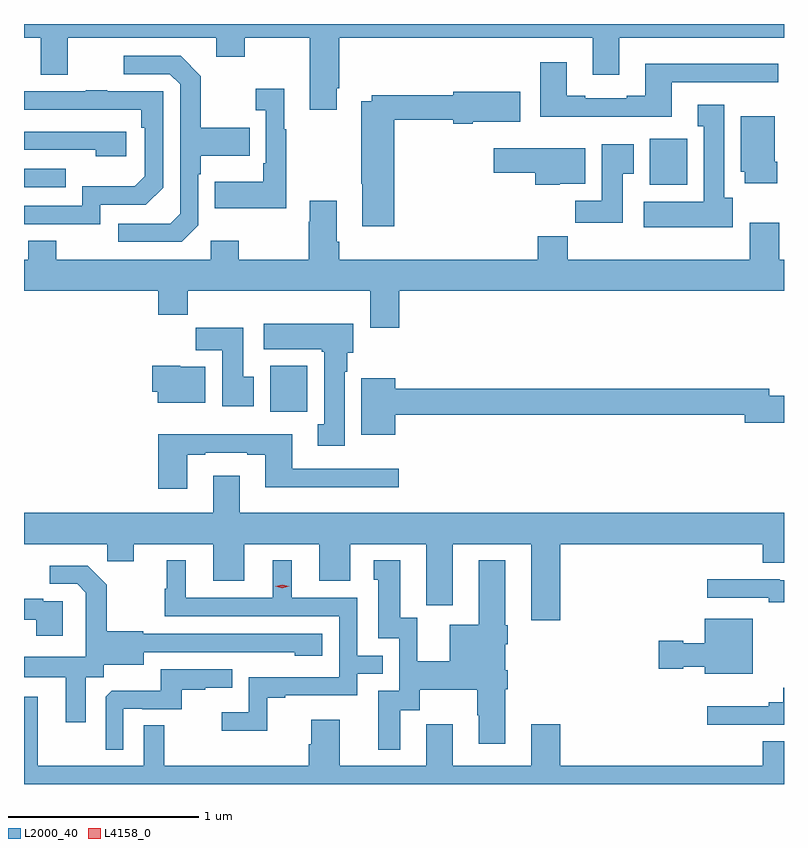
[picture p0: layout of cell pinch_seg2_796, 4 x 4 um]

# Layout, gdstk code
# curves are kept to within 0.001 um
import gdstk
lib = gdstk.Library(unit=1e-6, precision=1e-09)
def R(c, l, rs):  # rectangles x0, y0, x1, y1
    for r in rs: c.add(gdstk.rectangle(r[:2], r[2:], *l))
def P(c, l, *ps):  # polygons
    for p in ps: c.add(gdstk.Polygon(p, *l))
L2000_40 = (2000, 40)
L4158_0 = (4158, 0)

pinch_seg2_796 = lib.new_cell('pinch_seg2_796')
R(pinch_seg2_796, L2000_40, [(671.225,616.364,671.422,616.606), (669.93,617.547,670.151,617.643), (673.223,617.558,673.42,617.8)])
P(pinch_seg2_796, L2000_40, [(671.575,618.067),(671.588,618.067),(671.588,618.332),(672.923,618.332),(672.923,618.138),(673.063,618.138),(673.063,618.332),(673.93,618.332),(673.93,618.405),(669.93,618.405),(669.93,618.332),(670.019,618.332),(670.019,618.138),(670.159,618.138),(670.159,618.332),(670.943,618.332),(670.943,618.233),(671.091,618.233),(671.091,618.332),(671.435,618.332),(671.435,617.955),(671.575,617.955)],
  [(670.848,617.346),(670.848,617.615),(670.861,617.615),(670.861,617.711),(671.117,617.711),(671.117,617.859),(670.861,617.859),(670.861,618.131),(670.755,618.237),(670.455,618.237),(670.455,618.141),(670.698,618.141),(670.752,618.087),(670.752,617.406),(670.701,617.355),(670.425,617.355),(670.425,617.259),(670.761,617.259)],
  [(673.339,618.099),(673.9,618.099),(673.9,618.196),(673.199,618.196),(673.199,618.028),(673.103,618.028),(673.103,618.015),(672.883,618.015),(672.883,618.028),(672.787,618.028),(672.787,618.205),(672.647,618.205),(672.647,617.918),(673.339,617.918)],
  [(671.311,617.851),(671.299,617.851),(671.299,618.064),(671.151,618.064),(671.151,617.951),(671.202,617.951),(671.202,617.671),(671.19,617.671),(671.19,617.575),(670.933,617.575),(670.933,617.435),(671.311,617.435)],
  [(670.332,617.454),(670.572,617.454),(670.662,617.544),(670.662,618.051),(670.367,618.051),(670.367,618.056),(670.255,618.056),(670.255,618.051),(669.93,618.051),(669.93,617.955),(670.546,617.955),(670.546,617.858),(670.566,617.858),(670.566,617.604),(670.513,617.551),(670.236,617.551),(670.236,617.448),(669.93,617.448),(669.93,617.352),(670.332,617.352)],
  [(671.879,617.902),(672.188,617.902),(672.188,617.879),(672.292,617.879),(672.292,617.891),(672.541,617.891),(672.541,618.049),(672.188,618.049),(672.188,618.031),(671.76,618.031),(671.76,617.998),(671.704,617.998),(671.704,617.563),(671.711,617.563),(671.711,617.34),(671.879,617.34)],
  [(673.66,617.49),(673.615,617.49),(673.615,617.98),(673.475,617.98),(673.475,617.867),(673.508,617.867),(673.508,617.47),(673.191,617.47),(673.191,617.336),(673.66,617.336)],
  [(673.895,617.68),(673.882,617.68),(673.882,617.92),(673.703,617.92),(673.703,617.628),(673.724,617.628),(673.724,617.568),(673.895,617.568)],
  [(670.468,617.838),(669.93,617.838),(669.93,617.742),(670.307,617.742),(670.307,617.708),(670.468,617.708)],
  [(673.081,617.617),(673.138,617.617),(673.138,617.773),(672.971,617.773),(672.971,617.476),(672.832,617.476),(672.832,617.358),(673.081,617.358)],
  [(672.75,617.564),(672.883,617.564),(672.883,617.752),(672.402,617.752),(672.402,617.623),(672.62,617.623),(672.62,617.558),(672.75,617.558)],
  [(671.906,617),(673.93,617),(673.93,617.164),(673.904,617.164),(673.904,617.359),(673.751,617.359),(673.751,617.164),(672.791,617.164),(672.791,617.288),(672.635,617.288),(672.635,617.164),(671.588,617.164),(671.588,617.26),(671.575,617.26),(671.575,617.476),(671.435,617.476),(671.435,617.363),(671.428,617.363),(671.428,617.164),(671.061,617.164),(671.061,617.263),(670.914,617.263),(670.914,617.164),(670.101,617.164),(670.101,617.263),(669.953,617.263),(669.953,617.164),(669.93,617.164),(669.93,617),(670.637,617),(670.637,616.876),(670.793,616.876),(670.793,617),(671.753,617),(671.753,616.806),(671.906,616.806)],
  [(671.617,616.574),(671.632,616.574),(671.632,616.674),(671.662,616.674),(671.662,616.828),(671.193,616.828),(671.193,616.694),(671.497,616.694),(671.497,616.681),(671.51,616.681),(671.51,616.298),(671.477,616.298),(671.477,616.185),(671.617,616.185)],
  [(671.14,616.548),(671.083,616.548),(671.083,616.807),(670.834,616.807),(670.834,616.688),(670.973,616.688),(670.973,616.392),(671.14,616.392)],
  [(670.885,616.6),(670.752,616.6),(670.752,616.606),(670.604,616.606),(670.604,616.47),(670.634,616.47),(670.634,616.412),(670.885,616.412)],
  [(671.884,616.348),(673.724,616.348),(673.724,616.306),(673.93,616.306),(673.93,616.448),(673.852,616.448),(673.852,616.484),(671.884,616.484),(671.884,616.54),(671.705,616.54),(671.705,616.244),(671.884,616.244)],
  [(670.789,616.137),(670.885,616.137),(670.885,616.149),(671.105,616.149),(671.105,616.137),(671.201,616.137),(671.201,615.968),(671.902,615.968),(671.902,616.065),(671.341,616.065),(671.341,616.246),(670.637,616.246),(670.637,615.96),(670.789,615.96)],
  [(672.752,615.668),(673.817,615.668),(673.817,615.57),(673.93,615.57),(673.93,615.832),(671.065,615.832),(671.065,616.027),(670.925,616.027),(670.925,615.832),(669.93,615.832),(669.93,615.668),(670.369,615.668),(670.369,615.578),(670.507,615.578),(670.507,615.668),(670.925,615.668),(670.925,615.474),(671.089,615.474),(671.089,615.668),(671.483,615.668),(671.483,615.474),(671.647,615.474),(671.647,615.668),(672.047,615.668),(672.047,615.457),(672.048,615.457),(672.048,615.345),(672.187,615.345),(672.187,615.668),(672.599,615.668),(672.599,615.267),(672.752,615.267)],
  [(671.911,614.794),(672.013,614.794),(672.013,614.9),(672.316,614.9),(672.316,614.766),(672.323,614.766),(672.323,614.616),(672.463,614.616),(672.463,614.904),(672.476,614.904),(672.476,615.004),(672.463,615.004),(672.463,615.14),(672.476,615.14),(672.476,615.24),(672.463,615.24),(672.463,615.583),(672.323,615.583),(672.323,615.244),(672.17,615.244),(672.17,615.052),(672,615.052),(672,615.279),(671.911,615.279),(671.911,615.583),(671.771,615.583),(671.771,615.48),(671.795,615.48),(671.795,615.171),(671.904,615.171),(671.904,614.895),(671.795,614.895),(671.795,614.586),(671.911,614.586)],
  [(671.211,614.859),(671.305,614.859),(671.305,614.871),(671.685,614.871),(671.685,614.985),(671.819,614.985),(671.819,615.081),(671.685,615.081),(671.685,615.384),(671.338,615.384),(671.338,615.583),(671.24,615.583),(671.24,615.384),(670.78,615.384),(670.78,615.583),(670.682,615.583),(670.682,615.432),(670.671,615.432),(670.671,615.288),(671.589,615.288),(671.589,614.967),(671.112,614.967),(671.112,614.782),(670.971,614.782),(670.971,614.684),(671.211,614.684)],
  [(670.255,614.968),(670.35,614.968),(670.35,615.032),(670.561,615.032),(670.561,615.099),(671.355,615.098),(671.355,615.08),(671.5,615.08),(671.5,615.195),(670.557,615.195),(670.557,615.208),(670.365,615.208),(670.365,615.453),(670.265,615.553),(670.065,615.553),(670.065,615.459),(670.209,615.459),(670.256,615.412),(670.256,615.317),(670.254,615.317),(670.254,615.076),(669.93,615.076),(669.93,614.966),(670.151,614.966),(670.151,614.73),(670.255,614.73)],
  [(673.93,615.477),(673.907,615.477),(673.907,615.482),(673.527,615.482),(673.527,615.384),(673.85,615.384),(673.85,615.362),(673.93,615.362)],
  [(670.135,615.366),(670.031,615.366),(670.031,615.379),(669.93,615.379),(669.93,615.27),(669.995,615.27),(669.995,615.186),(670.135,615.186)],
  [(673.765,615.274),(673.514,615.274),(673.514,615.145),(673.401,615.145),(673.401,615.158),(673.272,615.158),(673.272,615.011),(673.401,615.011),(673.401,615.023),(673.514,615.023),(673.514,614.984),(673.765,614.984)],
  [(670.452,614.802),(670.552,614.802),(670.552,614.799),(670.76,614.799),(670.76,614.901),(670.883,614.901),(670.883,614.912),(671.027,614.912),(671.027,615.009),(670.65,615.009),(670.65,614.897),(670.391,614.897),(670.359,614.865),(670.359,614.585),(670.452,614.585)],
  [(673.93,614.911),(673.927,614.911),(673.927,614.834),(673.85,614.834),(673.85,614.815),(673.527,614.815),(673.527,614.718),(673.93,614.718)],
  [(670.669,614.714),(670.56,614.714),(670.56,614.5),(670.003,614.5),(670.003,614.863),(669.93,614.863),(669.93,614.405),(673.93,614.405),(673.93,614.629),(673.817,614.629),(673.817,614.5),(672.752,614.5),(672.752,614.719),(672.599,614.719),(672.599,614.5),(672.187,614.5),(672.187,614.719),(672.047,614.719),(672.047,614.5),(671.593,614.5),(671.593,614.743),(671.441,614.743),(671.441,614.613),(671.429,614.613),(671.429,614.5),(670.669,614.5)])
P(pinch_seg2_796, L4158_0, [(671.289,615.435),(671.253,615.445),(671.253,615.445),(671.253,615.446),(671.289,615.455),(671.325,615.446),(671.325,615.445),(671.325,615.445)])

lib.write_gds('pinch_seg2_796.gds')
